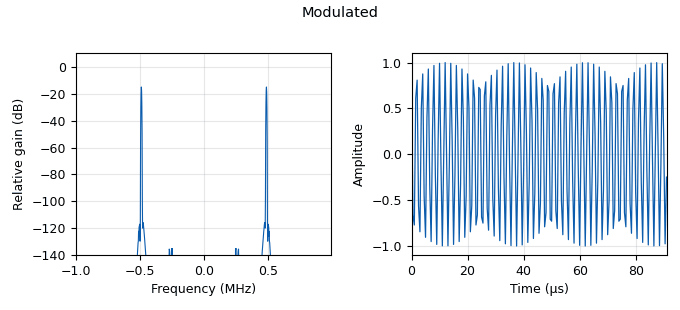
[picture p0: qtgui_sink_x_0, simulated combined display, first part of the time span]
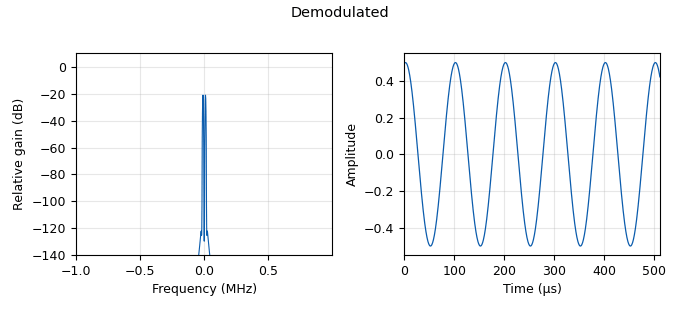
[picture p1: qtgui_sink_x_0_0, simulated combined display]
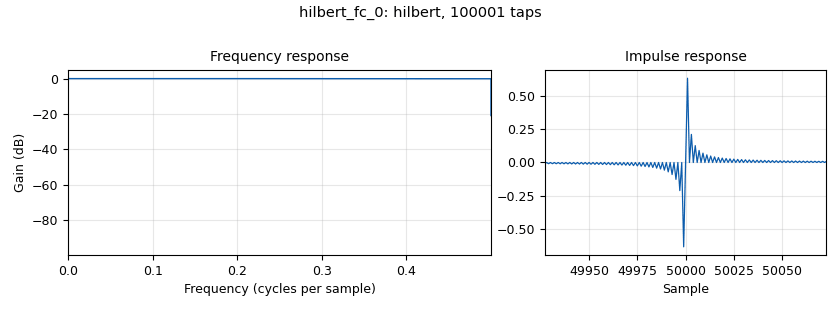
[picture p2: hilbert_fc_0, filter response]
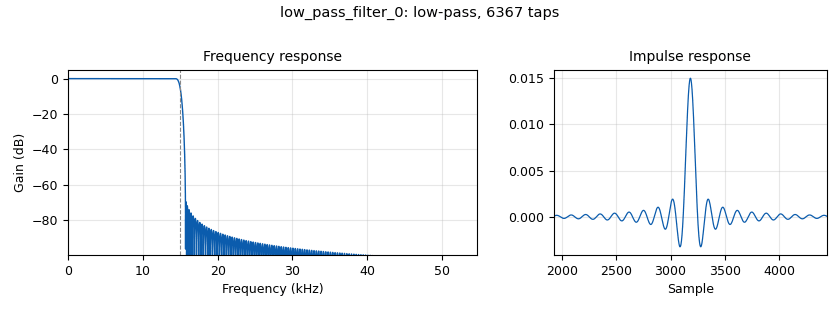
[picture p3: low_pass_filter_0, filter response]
options:
  parameters:
    author: ipsit
    description: SSB
    generate_options: qt_gui
    id: lab3_task2
    output_language: python
    title: Lab 3 Task 2
  states: {}

blocks:
- name: samp_rate
  id: variable
  parameters:
    value: '2000000'
  states: {}
- name: analog_sig_source_x_0
  id: analog_sig_source_x
  parameters:
    amp: '1'
    freq: '10000'
    offset: '0'
    phase: '0'
    samp_rate: samp_rate
    type: float
    waveform: analog.GR_COS_WAVE
  states: {}
- name: analog_sig_source_x_1
  id: analog_sig_source_x
  parameters:
    amp: '1'
    freq: '500000'
    offset: '0'
    phase: '0'
    samp_rate: samp_rate
    type: complex
    waveform: analog.GR_COS_WAVE
  states: {}
- name: analog_sig_source_x_1_0
  id: analog_sig_source_x
  parameters:
    amp: '1'
    freq: '500000'
    offset: '0'
    phase: '0'
    samp_rate: samp_rate
    type: float
    waveform: analog.GR_COS_WAVE
  states: {}
- name: blocks_complex_to_real_0
  id: blocks_complex_to_real
  parameters: {}
  states: {}
- name: blocks_conjugate_cc_0
  id: blocks_conjugate_cc
  parameters: {}
  states: {}
- name: blocks_multiply_xx_0
  id: blocks_multiply_xx
  parameters:
    type: complex
  states: {}
- name: blocks_multiply_xx_1
  id: blocks_multiply_xx
  parameters:
    type: float
  states: {}
- name: blocks_throttle_0
  id: blocks_throttle
  parameters:
    samples_per_second: samp_rate
    type: float
  states: {}
- name: dc_blocker_xx_0
  id: dc_blocker_xx
  parameters:
    length: '3200'
    long_form: 'True'
    type: ff
  states: {}
- name: hilbert_fc_0
  id: hilbert_fc
  parameters:
    num_taps: '100000'
    win: firdes.WIN_KAISER
  states: {}
- name: low_pass_filter_0
  id: low_pass_filter
  parameters:
    beta: '6.76'
    cutoff_freq: '15000'
    gain: '1'
    interp: '1'
    samp_rate: samp_rate
    type: interp_fir_filter_fff
    width: '1000'
    win: firdes.WIN_KAISER
  states: {}
- name: qtgui_sink_x_0
  id: qtgui_sink_x
  parameters:
    bw: samp_rate
    fc: '0'
    fftsize: '1024'
    gui_hint: tab@0
    name: Modulated
    type: float
    wintype: firdes.WIN_BLACKMAN_hARRIS
  states: {}
- name: qtgui_sink_x_0_0
  id: qtgui_sink_x
  parameters:
    bw: samp_rate
    fc: '0'
    fftsize: '1024'
    gui_hint: tab@1
    name: Demodulated
    type: float
    wintype: firdes.WIN_BLACKMAN_hARRIS
  states: {}
- name: tab
  id: qtgui_tab_widget
  parameters:
    label0: Modulated
    label1: Demodulated
    num_tabs: '2'
  states: {}

connections:
- [analog_sig_source_x_0, '0', hilbert_fc_0, '0']
- [analog_sig_source_x_1, '0', blocks_multiply_xx_0, '1']
- [analog_sig_source_x_1_0, '0', blocks_multiply_xx_1, '1']
- [blocks_complex_to_real_0, '0', blocks_throttle_0, '0']
- [blocks_conjugate_cc_0, '0', blocks_multiply_xx_0, '0']
- [blocks_multiply_xx_0, '0', blocks_complex_to_real_0, '0']
- [blocks_multiply_xx_1, '0', low_pass_filter_0, '0']
- [blocks_throttle_0, '0', blocks_multiply_xx_1, '0']
- [blocks_throttle_0, '0', qtgui_sink_x_0, '0']
- [dc_blocker_xx_0, '0', qtgui_sink_x_0_0, '0']
- [hilbert_fc_0, '0', blocks_conjugate_cc_0, '0']
- [low_pass_filter_0, '0', dc_blocker_xx_0, '0']

metadata:
  file_format: 1
